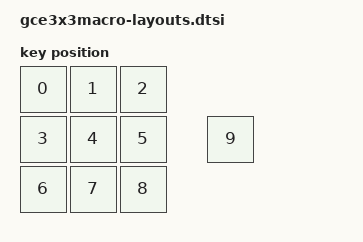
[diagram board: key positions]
/*
 * gce3x3macro-layouts.dtsi
 *
 * Physical layout for ZMK Studio
 */

#include <physical_layouts.dtsi>

/ {
    default_layout: default_layout {
        compatible = "zmk,physical-layout";
        display-name = "Default Layout";

        transform = <&default_transform>;
        kscan = <&composite_kscan>;

        keys
            /* Row 1 */
            = <&key_physical_attrs 100 100   0   0   0 0 0>
            , <&key_physical_attrs 100 100 100   0   0 0 0>
            , <&key_physical_attrs 100 100 200   0   0 0 0>

            /* Row 2 */
            , <&key_physical_attrs 100 100   0 100   0 0 0>
            , <&key_physical_attrs 100 100 100 100   0 0 0>
            , <&key_physical_attrs 100 100 200 100   0 0 0>

            /* Row 3 */
            , <&key_physical_attrs 100 100   0 200   0 0 0>
            , <&key_physical_attrs 100 100 100 200   0 0 0>
            , <&key_physical_attrs 100 100 200 200   0 0 0>

            /* Encoder push button */
            , <&key_physical_attrs 100 100 375 100   0 0 0>
            ;
    };
};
